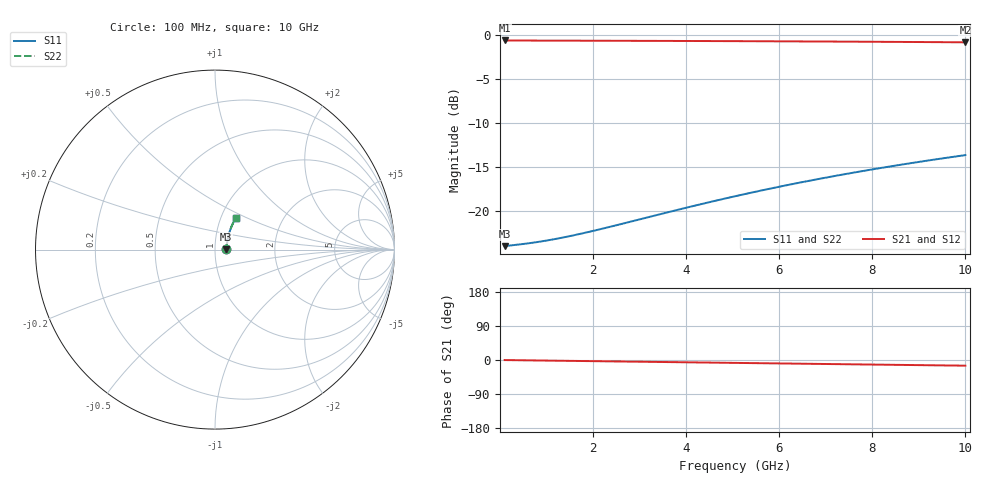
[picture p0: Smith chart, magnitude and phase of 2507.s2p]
# Hz S RI R 50.00
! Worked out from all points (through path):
!   100 points, 100 MHz to 10 GHz, reference 50 ohm
!   highest |S21| = -0.57 dB at 100 MHz (marker M1); lowest = -0.8 dB at 10 GHz (marker M2)
!   group delay of S21, straight-line fit = 4.16 ps
!   lowest |S11| = -24.0 dB at 100 MHz (marker M3), VSWR 1.13, Z = 56.7 + j0.212 ohm
!   |S11| at or under -10 dB: start of sweep to end of sweep
!   |S22| runs from -24.0 to -13.6 dB; largest |S21 - S12| = 0
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1e8  0.063 0.00187  0.937 -0.00249  0.937 -0.00249  0.063 0.00187
6e8  0.0644 0.0112  0.9356 -0.0149  0.9356 -0.0149  0.0644 0.0112
8e8  0.0649 0.0149  0.9351 -0.0198  0.9351 -0.0198  0.0649 0.0149
1e9  0.0653 0.0186  0.9347 -0.0248  0.9347 -0.0248  0.0653 0.0186
1.2e9  0.0657 0.0223  0.9343 -0.0297  0.9343 -0.0297  0.0657 0.0223
1.4e9  0.0661 0.0259  0.9338 -0.0347  0.9338 -0.0347  0.0661 0.0259
1.8e9  0.067 0.0333  0.9329 -0.0445  0.9329 -0.0445  0.067 0.0333
2.1e9  0.0678 0.0388  0.9321 -0.0519  0.9321 -0.0519  0.0678 0.0388
2.4e9  0.0686 0.0443  0.9312 -0.0592  0.9312 -0.0592  0.0686 0.0443
3.4e9  0.0719 0.0625  0.9278 -0.0836  0.9278 -0.0836  0.0719 0.0625
4.3e9  0.0756 0.0786  0.924 -0.1054  0.924 -0.1054  0.0756 0.0786
4.7e9  0.0775 0.0857  0.9221 -0.115  0.9221 -0.115  0.0775 0.0857
5.1e9  0.0794 0.0928  0.92 -0.1246  0.92 -0.1246  0.0794 0.0928
5.5e9  0.0816 0.0998  0.9178 -0.1341  0.9178 -0.1341  0.0816 0.0998
5.9e9  0.0839 0.1067  0.9154 -0.1435  0.9154 -0.1435  0.0839 0.1067
6.3e9  0.0863 0.1136  0.9129 -0.1529  0.9129 -0.1529  0.0863 0.1136
6.7e9  0.0888 0.1204  0.9103 -0.1622  0.9103 -0.1622  0.0888 0.1204
7.5e9  0.0943 0.1339  0.9046 -0.1806  0.9046 -0.1806  0.0943 0.1339
7.9e9  0.0972 0.1405  0.9015 -0.1897  0.9015 -0.1897  0.0972 0.1405
8.4e9  0.1011 0.1486  0.8975 -0.201  0.8975 -0.201  0.1011 0.1486
9.2e9  0.1076 0.1614  0.8906 -0.2188  0.8906 -0.2188  0.1076 0.1614
1e10  0.1147 0.1738  0.8833 -0.2362  0.8833 -0.2362  0.1147 0.1738
